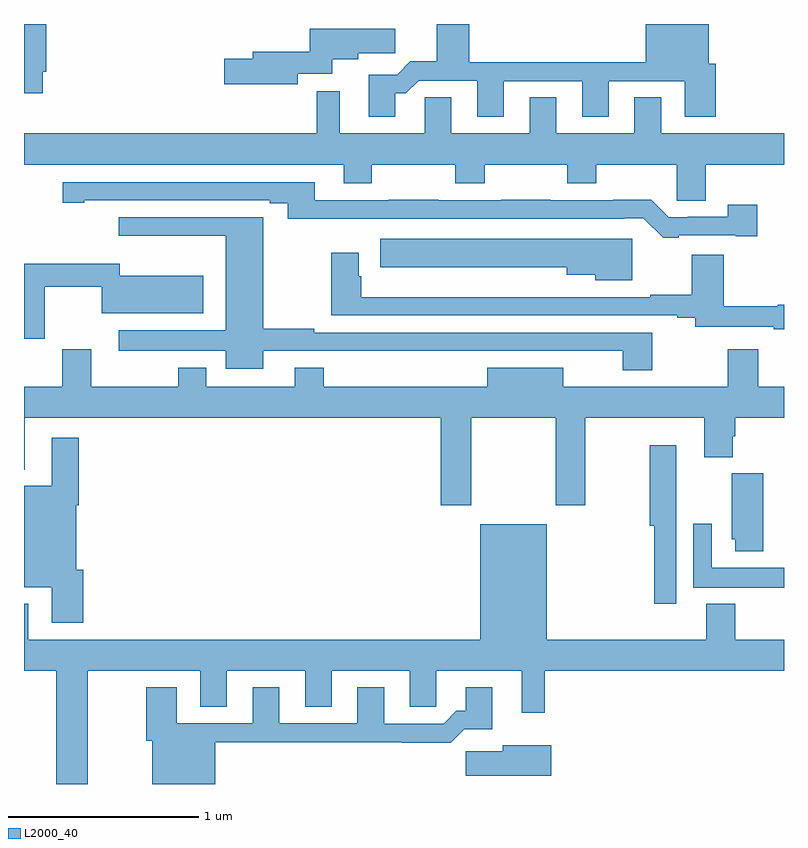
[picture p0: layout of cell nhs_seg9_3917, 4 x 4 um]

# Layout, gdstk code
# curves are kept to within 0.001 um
import gdstk
lib = gdstk.Library(unit=1e-6, precision=1e-09)
def P(c, l, *ps):  # polygons
    for p in ps: c.add(gdstk.Polygon(p, *l))
L2000_40 = (2000, 40)

nhs_seg9_3917 = lib.new_cell('nhs_seg9_3917')
P(nhs_seg9_3917, L2000_40, [(335.098,1190.248),(335.117,1190.248),(335.117,1190.5),(335.001,1190.5),(335.001,1190.316),(335,1190.316),(335,1190.136),(335.098,1190.136)],
  [(336.955,1190.135),(337.01,1190.135),(337.077,1190.202),(337.385,1190.202),(337.385,1190.013),(337.525,1190.013),(337.525,1190.199),(337.937,1190.199),(337.937,1190.013),(338.077,1190.013),(338.077,1190.199),(338.477,1190.199),(338.477,1190.013),(338.642,1190.013),(338.642,1190.292),(338.605,1190.292),(338.605,1190.5),(338.273,1190.5),(338.273,1190.3),(337.343,1190.3),(337.343,1190.5),(337.172,1190.5),(337.172,1190.303),(337.034,1190.303),(336.964,1190.233),(336.815,1190.233),(336.815,1190.013),(336.955,1190.013)],
  [(336.442,1190.238),(336.623,1190.238),(336.623,1190.315),(336.76,1190.315),(336.76,1190.347),(336.955,1190.347),(336.955,1190.476),(336.505,1190.476),(336.505,1190.354),(336.203,1190.354),(336.203,1190.318),(336.054,1190.318),(336.054,1190.183),(336.442,1190.183)],
  [(337.249,1190.114),(337.11,1190.114),(337.11,1189.924),(336.661,1189.924),(336.661,1190.146),(336.54,1190.146),(336.54,1189.924),(335,1189.924),(335,1189.76),(336.683,1189.76),(336.683,1189.661),(336.831,1189.661),(336.831,1189.76),(337.27,1189.76),(337.27,1189.661),(337.425,1189.661),(337.425,1189.76),(337.858,1189.76),(337.858,1189.661),(338.013,1189.661),(338.013,1189.76),(338.436,1189.76),(338.436,1189.57),(338.588,1189.57),(338.588,1189.76),(339,1189.76),(339,1189.924),(338.353,1189.924),(338.353,1190.114),(338.213,1190.114),(338.213,1189.924),(337.801,1189.924),(337.801,1190.114),(337.661,1190.114),(337.661,1189.924),(337.249,1189.924)],
  [(338.446,1189.389),(338.747,1189.389),(338.747,1189.382),(338.86,1189.382),(338.86,1189.549),(338.704,1189.549),(338.704,1189.485),(338.494,1189.485),(338.494,1189.482),(338.394,1189.482),(338.3,1189.576),(338.101,1189.576),(338.101,1189.572),(337.769,1189.572),(337.769,1189.574),(337.513,1189.574),(337.513,1189.572),(337.181,1189.572),(337.181,1189.574),(336.919,1189.574),(336.919,1189.572),(336.529,1189.572),(336.529,1189.668),(335.205,1189.668),(335.205,1189.56),(335.317,1189.56),(335.317,1189.572),(336.293,1189.572),(336.293,1189.556),(336.389,1189.556),(336.389,1189.475),(338.159,1189.476),(338.159,1189.478),(338.26,1189.478),(338.364,1189.374),(338.446,1189.374)],
  [(338.307,1188.876),(336.527,1188.876),(336.527,1188.896),(336.259,1188.896),(336.259,1189.379),(336.258,1189.379),(336.258,1189.482),(335.499,1189.482),(335.499,1189.385),(336.062,1189.385),(336.062,1188.889),(335.499,1188.889),(335.499,1188.779),(336.062,1188.779),(336.062,1188.686),(336.259,1188.686),(336.259,1188.78),(336.661,1188.78),(336.661,1188.779),(337.343,1188.779),(337.343,1188.78),(337.933,1188.78),(337.933,1188.779),(338.152,1188.779),(338.152,1188.678),(338.307,1188.678)],
  [(338.2,1189.369),(336.876,1189.369),(336.876,1189.22),(337.856,1189.22),(337.856,1189.181),(338.006,1189.181),(338.006,1189.151),(338.2,1189.151)],
  [(339,1189.022),(338.967,1189.022),(338.967,1189.015),(338.684,1189.015),(338.684,1189.285),(338.515,1189.285),(338.515,1189.075),(338.296,1189.075),(338.296,1189.062),(337.76,1189.062),(337.76,1189.063),(336.776,1189.063),(336.776,1189.172),(336.763,1189.172),(336.763,1189.297),(336.616,1189.297),(336.616,1188.966),(338.438,1188.966),(338.438,1188.954),(338.534,1188.954),(338.534,1188.906),(338.947,1188.906),(338.947,1188.894),(339,1188.894)],
  [(335.11,1189.116),(335.409,1189.116),(335.409,1188.977),(335.944,1188.977),(335.944,1189.174),(335.505,1189.174),(335.505,1189.237),(335,1189.237),(335,1188.843),(335.11,1188.843)],
  [(337.353,1188.428),(337.798,1188.428),(337.798,1187.967),(337.953,1187.967),(337.953,1188.428),(338.579,1188.428),(338.579,1188.22),(338.731,1188.22),(338.731,1188.329),(338.744,1188.329),(338.744,1188.428),(339,1188.428),(339,1188.592),(338.864,1188.592),(338.864,1188.787),(338.704,1188.787),(338.704,1188.592),(337.837,1188.592),(337.837,1188.691),(337.439,1188.691),(337.439,1188.592),(336.578,1188.592),(336.578,1188.691),(336.425,1188.691),(336.425,1188.592),(335.959,1188.592),(335.959,1188.691),(335.812,1188.691),(335.812,1188.592),(335.353,1188.592),(335.353,1188.787),(335.201,1188.787),(335.201,1188.592),(335,1188.592),(335,1188.155),(335.005,1188.155),(335.005,1188.428),(337.193,1188.428),(337.193,1187.967),(337.353,1187.967)],
  [(335.312,1187.628),(335.275,1187.628),(335.275,1187.966),(335.288,1187.966),(335.288,1188.322),(335.147,1188.322),(335.147,1188.07),(335,1188.07),(335,1187.535),(335.147,1187.535),(335.147,1187.349),(335.312,1187.349)],
  [(338.433,1187.962),(338.434,1187.962),(338.434,1188.283),(338.293,1188.283),(338.293,1187.858),(338.317,1187.858),(338.317,1187.448),(338.433,1187.448)],
  [(338.89,1188.135),(338.726,1188.135),(338.726,1187.787),(338.744,1187.787),(338.744,1187.724),(338.89,1187.724)],
  [(339,1187.638),(338.619,1187.638),(338.619,1187.869),(338.523,1187.869),(338.523,1187.534),(338.827,1187.534),(338.827,1187.532),(339,1187.532)],
  [(335.335,1187.096),(335.927,1187.096),(335.927,1186.906),(336.067,1186.906),(336.067,1187.096),(336.479,1187.096),(336.479,1186.906),(336.619,1186.906),(336.619,1187.096),(337.031,1187.096),(337.031,1186.906),(337.17,1186.906),(337.17,1187.096),(337.619,1187.096),(337.619,1186.875),(337.741,1186.875),(337.741,1187.096),(339,1187.096),(339,1187.26),(338.744,1187.26),(338.744,1187.449),(338.591,1187.449),(338.591,1187.26),(337.75,1187.26),(337.75,1187.866),(337.4,1187.866),(337.4,1187.26),(335.023,1187.26),(335.023,1187.45),(335,1187.45),(335,1187.096),(335.171,1187.096),(335.171,1186.5),(335.335,1186.5)],
  [(336.007,1186.72),(336.991,1186.72),(336.991,1186.718),(337.247,1186.718),(337.316,1186.787),(337.465,1186.787),(337.465,1187.008),(337.325,1187.008),(337.325,1186.885),(337.276,1186.885),(337.209,1186.818),(336.895,1186.818),(336.895,1187.008),(336.755,1187.008),(336.755,1186.821),(336.343,1186.821),(336.343,1187.008),(336.203,1187.008),(336.203,1186.821),(335.803,1186.821),(335.803,1187.008),(335.644,1187.008),(335.644,1186.728),(335.675,1186.728),(335.675,1186.5),(336.007,1186.5)],
  [(337.774,1186.705),(337.52,1186.705),(337.52,1186.673),(337.326,1186.673),(337.326,1186.544),(337.774,1186.544)])

lib.write_gds('nhs_seg9_3917.gds')
